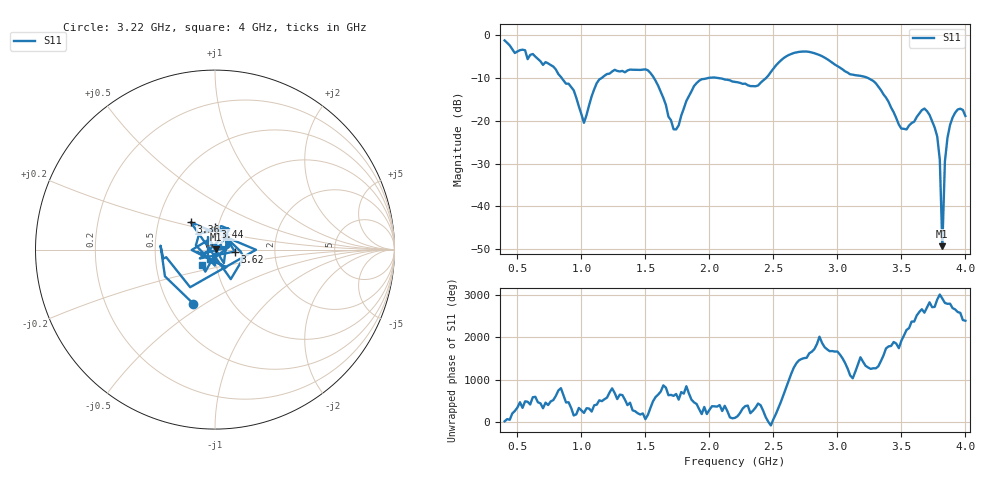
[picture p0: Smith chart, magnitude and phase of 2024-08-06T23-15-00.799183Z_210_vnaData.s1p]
!Created with skrf (http://scikit-rf.org).
# Hz S RI R 50.0
!freq ReS11 ImS11
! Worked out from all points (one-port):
!   181 points, 400 MHz to 4 GHz, reference 50 ohm
!   lowest |S11| = -49.3 dB at 3.82 GHz (marker M1), VSWR 1.01, Z = 50.3 + j0.172 ohm
!   |S11| at or under -10 dB: 1.567 GHz to 1.988 GHz (421.2 MHz wide, 23.7 % of centre); 2.07 GHz to 2.442 GHz (372.6 MHz wide, 16.5 % of centre); 3.24 GHz to end of sweep (the widest 3 of 4)
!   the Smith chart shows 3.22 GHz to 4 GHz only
!   S11 on the Smith chart (normalised r, x): 3.22 GHz: 0.66, -0.45; 3.36 GHz: 0.73, +0.23; 3.44 GHz: 0.97, +0.25; 3.62 GHz: 1.25, -0.03; 4 GHz: 0.85, -0.15
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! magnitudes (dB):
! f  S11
! 400 MHz  -1.2
! 860 MHz  -10.6
! 940 MHz  -12.9
! 1.02 GHz  -20.5
! 1.12 GHz  -11.2
! 1.3 GHz  -8.5
! 1.52 GHz  -8.2
! 1.72 GHz  -22.0
! 1.76 GHz  -21.1
! 1.92 GHz  -10.6
! 2.2 GHz  -10.9
! 2.38 GHz  -11.7
! 2.66 GHz  -4.1
! 3.1 GHz  -9.1
! 3.22 GHz  -9.8
! 3.36 GHz  -13.8
! 3.44 GHz  -18.0
! 3.5 GHz  -21.8
! 3.56 GHz  -21.1
! 3.62 GHz  -19.1
! 3.68 GHz  -17.1
! 3.78 GHz  -23.7
! 3.8 GHz  -29.1
! 3.82 GHz  -49.3
! 3.84 GHz  -29.5
! 3.86 GHz  -24.0
! 3.94 GHz  -17.4
! 4 GHz  -18.9
